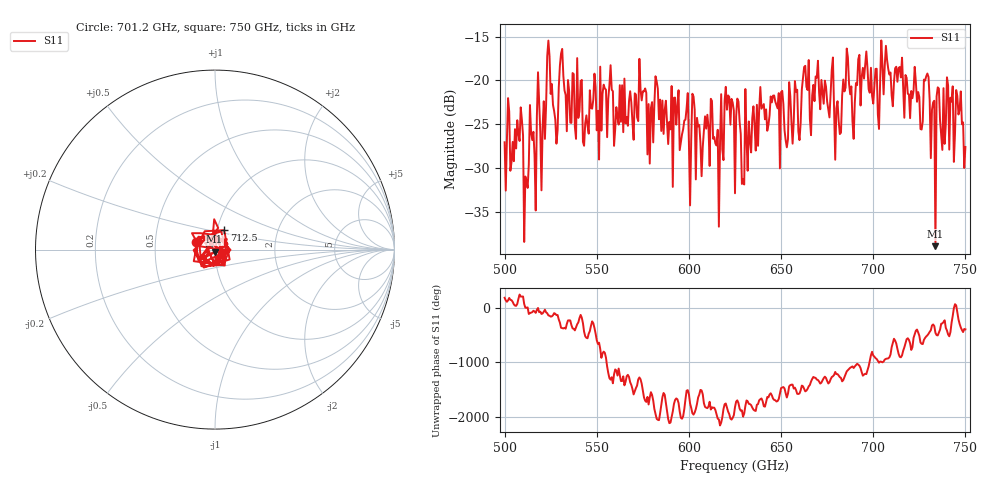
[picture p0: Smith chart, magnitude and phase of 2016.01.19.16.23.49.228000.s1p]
!Created with skrf (http://scikit-rf.org).
# GHz S RI R 50.0
!freq ReS11 ImS11
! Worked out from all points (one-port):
!   401 points, 500 GHz to 750 GHz, reference 50 ohm
!   lowest |S11| = -38.9 dB at 733.8 GHz (marker M1), VSWR 1.02, Z = 49.8 - j1.11 ohm
!   |S11| at or under -10 dB: start of sweep to end of sweep
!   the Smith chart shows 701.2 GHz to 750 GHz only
!   S11 on the Smith chart (normalised r, x): 701.2 GHz: 0.80, +0.07; 712.5 GHz: 1.08, +0.24; 750 GHz: 1.07, -0.05
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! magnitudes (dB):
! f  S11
! 500 GHz  -27.0
! 508.1 GHz  -26.9
! 511.9 GHz  -31.5
! 514.4 GHz  -26.0
! 521.2 GHz  -22.4
! 524.4 GHz  -17.2
! 527.5 GHz  -24.4
! 531.2 GHz  -16.4
! 543.8 GHz  -24.9
! 562.5 GHz  -20.5
! 593.8 GHz  -23.0
! 615.6 GHz  -25.6
! 620.6 GHz  -23.3
! 625 GHz  -32.9
! 628.8 GHz  -31.8
! 639.4 GHz  -23.2
! 656.2 GHz  -27.2
! 663.8 GHz  -20.7
! 680.6 GHz  -22.4
! 687.5 GHz  -21.6
! 701.2 GHz  -18.7
! 712.5 GHz  -18.4
! 718.8 GHz  -21.5
! 725.6 GHz  -25.5
! 728.8 GHz  -19.5
! 733.8 GHz  -38.9
! 746.2 GHz  -23.9
! 750 GHz  -27.6
